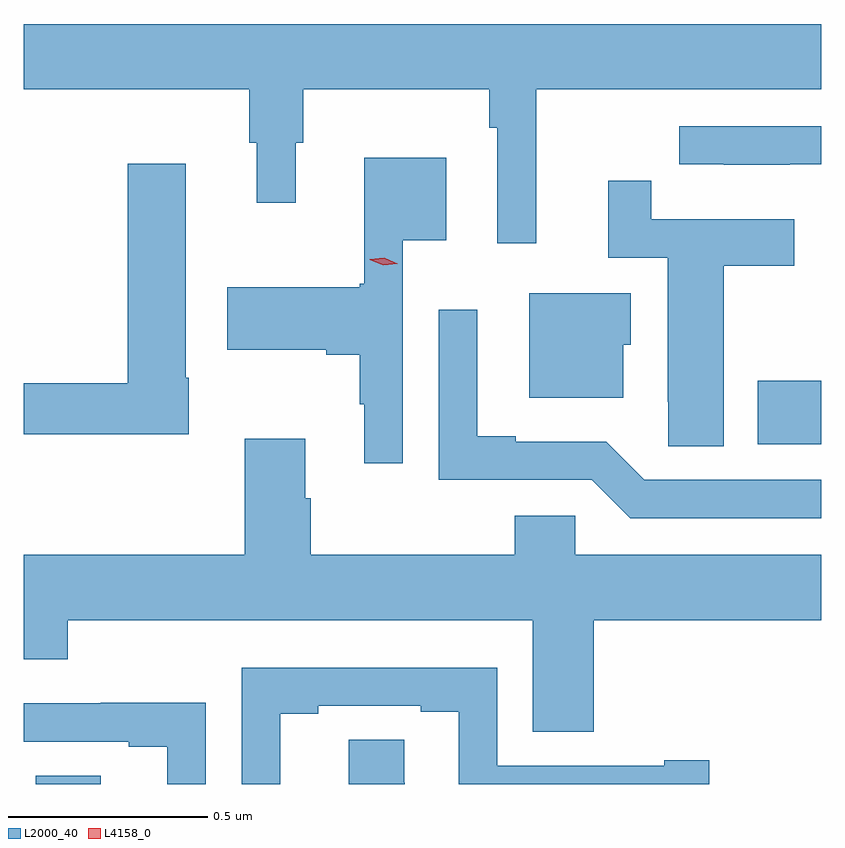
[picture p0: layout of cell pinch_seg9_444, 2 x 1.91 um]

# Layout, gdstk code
import gdstk
lib = gdstk.Library(unit=1e-6, precision=1e-09)
def R(c, l, rs):  # rectangles x0, y0, x1, y1
    for r in rs: c.add(gdstk.rectangle(r[:2], r[2:], *l))
def P(c, l, *ps):  # polygons
    for p in ps: c.add(gdstk.Polygon(p, *l))
L2000_40 = (2000, 40)
L4158_0 = (4158, 0)

pinch_seg9_444 = lib.new_cell('pinch_seg9_444')
R(pinch_seg9_444, L2000_40, [(220.841,1235.969,221.005,1235.99), (222.653,1236.821,222.812,1236.981)])
P(pinch_seg9_444, L2000_40, [(222.098,1237.712),(222.812,1237.712),(222.812,1237.876),(220.812,1237.876),(220.812,1237.712),(221.377,1237.712),(221.377,1237.578),(221.396,1237.578),(221.396,1237.428),(221.494,1237.428),(221.494,1237.578),(221.513,1237.578),(221.513,1237.712),(221.98,1237.712),(221.98,1237.616),(222,1237.616),(222,1237.326),(222.098,1237.326)],
  [(222.734,1237.524),(222.812,1237.524),(222.812,1237.62),(222.456,1237.62),(222.456,1237.524),(222.568,1237.524),(222.568,1237.523),(222.734,1237.523)],
  [(221.763,1237.334),(221.872,1237.334),(221.872,1237.54),(221.666,1237.54),(221.666,1237.224),(221.655,1237.224),(221.655,1237.216),(221.322,1237.216),(221.322,1237.058),(221.57,1237.058),(221.57,1237.046),(221.655,1237.046),(221.655,1236.922),(221.666,1236.922),(221.666,1236.774),(221.763,1236.774)],
  [(221.226,1236.988),(221.218,1236.988),(221.218,1237.525),(221.072,1237.525),(221.072,1236.974),(220.812,1236.974),(220.812,1236.846),(221.226,1236.846)],
  [(222.568,1237.27),(222.745,1237.27),(222.745,1237.386),(222.386,1237.386),(222.386,1237.483),(222.278,1237.483),(222.278,1237.29),(222.428,1237.29),(222.428,1236.928),(222.429,1236.928),(222.429,1236.817),(222.568,1236.817)],
  [(222.316,1237.071),(222.334,1237.071),(222.334,1237.201),(222.08,1237.201),(222.08,1236.938),(222.316,1236.938)],
  [(222.812,1236.732),(222.369,1236.732),(222.273,1236.828),(222.046,1236.828),(222.046,1236.841),(221.95,1236.841),(221.95,1237.159),(221.853,1237.159),(221.853,1236.732),(222.237,1236.732),(222.333,1236.636),(222.812,1236.636)],
  [(222.242,1236.38),(222.812,1236.38),(222.812,1236.544),(222.195,1236.544),(222.195,1236.642),(222.044,1236.642),(222.044,1236.544),(221.531,1236.544),(221.531,1236.686),(221.518,1236.686),(221.518,1236.835),(221.366,1236.835),(221.366,1236.544),(220.812,1236.544),(220.812,1236.282),(220.922,1236.282),(220.922,1236.38),(222.089,1236.38),(222.089,1236.1),(222.242,1236.1)],
  [(221.455,1236.145),(221.551,1236.145),(221.551,1236.165),(221.807,1236.165),(221.807,1236.15),(221.903,1236.15),(221.903,1235.969),(222.532,1235.969),(222.532,1236.028),(222.419,1236.028),(222.419,1236.015),(222,1236.015),(222,1236.261),(221.358,1236.261),(221.358,1235.969),(221.455,1235.969)],
  [(221.268,1236.173),(221.005,1236.173),(221.005,1236.171),(220.812,1236.171),(220.812,1236.075),(221.075,1236.075),(221.075,1236.063),(221.171,1236.063),(221.171,1235.969),(221.268,1235.969)],
  [(221.767,1235.972),(221.766,1235.972),(221.766,1236.08),(221.627,1236.08),(221.627,1235.969),(221.767,1235.969)])
P(pinch_seg9_444, L4158_0, [(221.714,1237.271),(221.68,1237.285),(221.68,1237.286),(221.68,1237.286),(221.716,1237.29),(221.75,1237.275),(221.75,1237.275),(221.75,1237.275)])

lib.write_gds('pinch_seg9_444.gds')
